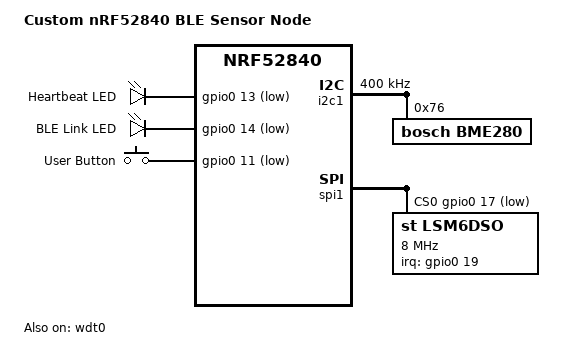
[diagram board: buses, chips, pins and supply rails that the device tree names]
/*
 * SPDX-License-Identifier: Apache-2.0
 *
 * Device Tree Source: custom_sensor_node board
 *
 * Custom nRF52840-based embedded sensor node for the BLE Sensor Hub project.
 * Hardware mapping:
 *   - I2C1  (TWIM1): SDA=P0.26, SCL=P0.27 @ 400 kHz  → Bosch BME280 @ 0x76
 *   - SPI1  (SPIM1): SCK=P0.31, MOSI=P0.30, MISO=P0.29, CS=P0.17 → ST LSM6DSO
 *   - Logging backend: Segger RTT (no UART console)
 *   - Status LEDs: P0.13 (heartbeat), P0.14 (BLE link)
 *   - Button:      P0.11 (active-low, user input)
 */

/dts-v1/;
#include <nordic/nrf52840_qiaa.dtsi>
#include "custom_sensor_node-pinctrl.dtsi"

/ {
	model = "Custom nRF52840 BLE Sensor Node";
	compatible = "rishobank,custom-sensor-node";

	chosen {
		zephyr,sram    = &sram0;
		zephyr,flash   = &flash0;
		zephyr,code-partition = &slot0_partition;
		/*
		 * No zephyr,console or zephyr,uart-console here.
		 * RTT is configured as the sole logging backend via Kconfig.
		 */
	};

	aliases {
		sensor-bme280  = &bme280;
		sensor-lsm6dso = &lsm6dso;
		led-status     = &led0;
		led-ble        = &led1;
		sw-user        = &button0;
		watchdog0      = &wdt0;
	};

	/* ---- Status LEDs ---- */
	leds {
		compatible = "gpio-leds";

		led0: led_0 {
			gpios = <&gpio0 13 GPIO_ACTIVE_LOW>;
			label = "Heartbeat LED";
		};

		led1: led_1 {
			gpios = <&gpio0 14 GPIO_ACTIVE_LOW>;
			label = "BLE Link LED";
		};
	};

	/* ---- User Pushbutton ---- */
	buttons {
		compatible = "gpio-keys";

		button0: button_0 {
			gpios = <&gpio0 11 (GPIO_PULL_UP | GPIO_ACTIVE_LOW)>;
			label = "User Button";
			zephyr,code = <INPUT_KEY_0>;
		};
	};

	/* ---- Flash Partition Table (MCUboot compatible) ---- */
	&flash0 {
		partitions {
			compatible = "fixed-partitions";
			#address-cells = <1>;
			#size-cells = <1>;

			/* MCUboot bootloader region: 48 KB */
			boot_partition: partition@0 {
				label = "mcuboot";
				reg = <0x00000000 DT_SIZE_K(48)>;
			};

			/* Primary application slot: 440 KB */
			slot0_partition: partition@c000 {
				label = "image-0";
				reg = <0x0000c000 DT_SIZE_K(440)>;
			};

			/* Secondary / OTA candidate slot: 440 KB */
			slot1_partition: partition@7a000 {
				label = "image-1";
				reg = <0x0007a000 DT_SIZE_K(440)>;
			};

			/* MCUboot sector-swap scratch area: 32 KB */
			scratch_partition: partition@e8000 {
				label = "image-scratch";
				reg = <0x000e8000 DT_SIZE_K(32)>;
			};

			/* Non-Volatile Storage (BLE bonding keys, NVS config): 64 KB */
			storage_partition: partition@f0000 {
				label = "storage";
				reg = <0x000f0000 DT_SIZE_K(64)>;
			};
		};
	};
};

/* ============================================================
 * I2C1 (Nordic TWIM1) — Bosch BME280 Environmental Sensor
 * SDA: P0.26  |  SCL: P0.27  |  Speed: 400 kHz
 * ============================================================ */
&i2c1 {
	compatible = "nordic,nrf-twim";
	status = "okay";
	pinctrl-0 = <&i2c1_default>;
	pinctrl-1 = <&i2c1_sleep>;
	pinctrl-names = "default", "sleep";
	clock-frequency = <I2C_BITRATE_FAST>;

	bme280: bme280@76 {
		compatible = "bosch,bme280";
		reg = <0x76>;
		status = "okay";
	};
};

/* ============================================================
 * SPI1 (Nordic SPIM1) — ST LSM6DSO 6-DoF IMU
 * SCK: P0.31  |  MOSI: P0.30  |  MISO: P0.29  |  CS: P0.17
 * ============================================================ */
&spi1 {
	compatible = "nordic,nrf-spim";
	status = "okay";
	pinctrl-0 = <&spi1_default>;
	pinctrl-1 = <&spi1_sleep>;
	pinctrl-names = "default", "sleep";
	cs-gpios = <&gpio0 17 GPIO_ACTIVE_LOW>;

	lsm6dso: lsm6dso@0 {
		compatible = "st,lsm6dso";
		reg = <0>;
		spi-max-frequency = <8000000>;
		irq-gpios = <&gpio0 19 GPIO_ACTIVE_HIGH>;
		status = "okay";
	};
};

/* ---- Watchdog ---- */
&wdt0 {
	status = "okay";
};

/* ---- GPIO controllers required for LEDs, button, CS pin ---- */
&gpio0 {
	status = "okay";
};

&gpio1 {
	status = "okay";
};

/* ---- GPIOTE for interrupt-driven sensor IRQ line ---- */
&gpiote {
	status = "okay";
};
